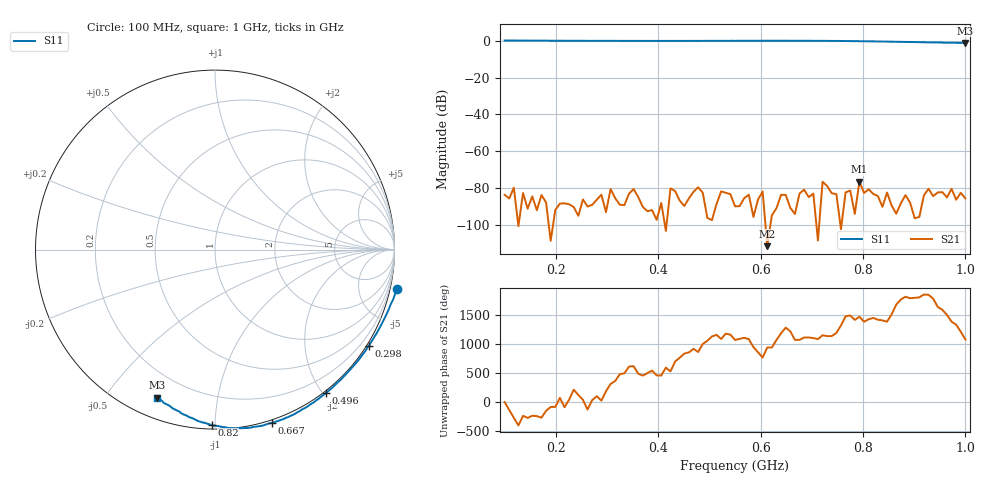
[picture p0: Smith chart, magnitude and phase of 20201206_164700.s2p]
# HZ S RI R 50
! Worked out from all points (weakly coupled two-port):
!   101 points, 100 MHz to 1 GHz, reference 50 ohm
!   highest |S21| = -76.54 dB at 793 MHz (marker M1); lowest = -111.7 dB at 613 MHz (marker M2)
!   lowest |S11| = -1.0 dB at 1 GHz (marker M3), VSWR 16.66, Z = 4.39 - j33.9 ohm
!   |S11| at or under -10 dB: nowhere
!   S12 and S22 are empty: the file has one direction only
!   S11 on the Smith chart (normalised r, x): 100 MHz: -1.51, -9.09; 298 MHz: -0.07, -3.48; 496 MHz: -0.03, -2.04; 667 MHz: -0.02, -1.38; 820 MHz: 0.02, -0.98; 1 GHz: 0.09, -0.68
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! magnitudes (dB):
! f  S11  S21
! 100 MHz  0.3  -83.7
! 253 MHz  0.1  -86.3
! 298 MHz  0.1  -93.2
! 406 MHz  0.1  -88.2
! 469 MHz  0.1  -82.1
! 478 MHz  0.1  -79.6
! 487 MHz  0.1  -82.6
! 496 MHz  0.1  -96.3
! 550 MHz  0.1  -90.0
! 613 MHz  0.2  -111.7
! 667 MHz  0.1  -94.2
! 703 MHz  0.1  -83.1
! 712 MHz  0.1  -108.6
! 721 MHz  0.1  -76.6
! 730 MHz  0.1  -79.0
! 739 MHz  0.1  -82.9
! 784 MHz  -0.1  -94.2
! 793 MHz  -0.1  -76.5
! 802 MHz  -0.1  -82.7
! 820 MHz  -0.2  -83.3
! 856 MHz  -0.4  -89.7
! 1 GHz  -1.0  -85.7
